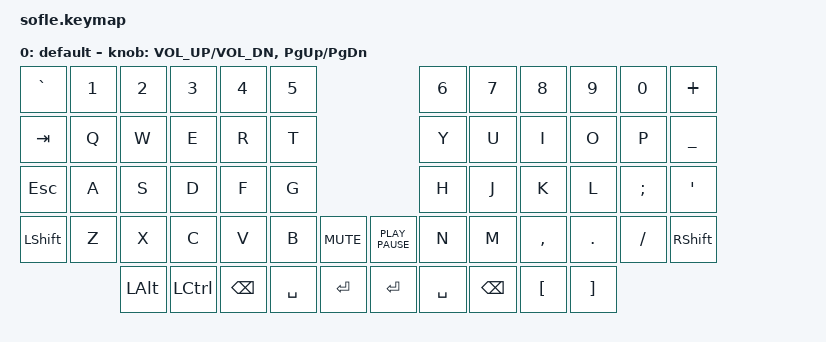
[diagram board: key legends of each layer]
/*
 * Copyright (c) 2020 The ZMK Contributors
 *
 * SPDX-License-Identifier: MIT
 */

#include <behaviors.dtsi>
#include <dt-bindings/zmk/bt.h>
#include <dt-bindings/zmk/ext_power.h>
#include <dt-bindings/zmk/keys.h>
#include <dt-bindings/zmk/rgb.h>

/ {
    conditional_layers { compatible = "zmk,conditional-layers"; };

    keymap {
        compatible = "zmk,keymap";

        default_layer {
            label = "default";

            bindings = <
&kp GRAVE     &kp N1  &kp N2        &kp N3     &kp N4         &kp N5                                     &kp N6     &kp N7         &kp N8            &kp N9             &kp N0    &kp PLUS
&kp TAB       &kp Q   &kp W         &kp E      &kp R          &kp T                                      &kp Y      &kp U          &kp I             &kp O              &kp P     &kp UNDERSCORE
&kp ESCAPE  &kp A   &kp S         &kp D      &kp F          &kp G                                      &kp H      &kp J          &kp K             &kp L              &kp SEMI  &kp SQT
&kp LSHFT     &kp Z   &kp X         &kp C      &kp V          &kp B      &kp C_MUTE    &kp K_PLAY_PAUSE  &kp N      &kp M          &kp COMMA         &kp DOT            &kp FSLH  &kp RSHFT
                      &kp LEFT_ALT  &kp LCTRL  &kp BACKSPACE  &kp SPACE  &kp RET       &kp RET           &kp SPACE  &kp BACKSPACE  &kp LEFT_BRACKET  &kp RIGHT_BRACKET
            >;

            sensor-bindings = <&inc_dec_kp C_VOL_UP C_VOL_DN &inc_dec_kp PG_UP PG_DN>;
        };
    };
};
